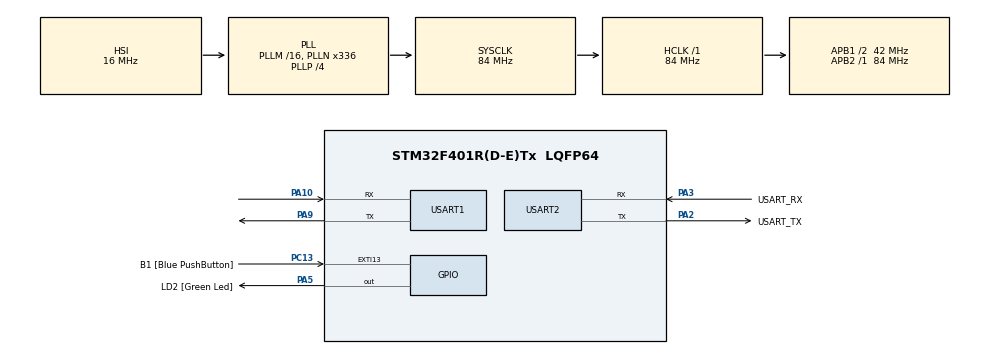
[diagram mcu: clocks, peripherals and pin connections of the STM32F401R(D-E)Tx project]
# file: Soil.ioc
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Mcu.Family=STM32F4
Mcu.Name=STM32F401R(D-E)Tx
Mcu.Package=LQFP64
NVIC.PriorityGroup=NVIC_PRIORITYGROUP_0
NVIC.USART1_IRQn=true\:0\:0\:false\:false\:true\:true\:true
PA10.Mode=Asynchronous
PA10.Signal=USART1_RX
PA13.GPIO_Label=TMS
PA13.Mode=Serial_Wire
PA13.Signal=SYS_JTMS-SWDIO
PA14.GPIO_Label=TCK
PA14.Mode=Serial_Wire
PA14.Signal=SYS_JTCK-SWCLK
PA2.GPIO_Label=USART_TX
PA2.GPIO_Mode=GPIO_MODE_AF_PP
PA2.GPIO_PuPd=GPIO_NOPULL
PA2.GPIO_Speed=GPIO_SPEED_FREQ_LOW
PA2.Mode=Asynchronous
PA2.Signal=USART2_TX
PA3.GPIO_Label=USART_RX
PA3.GPIO_Mode=GPIO_MODE_AF_PP
PA3.GPIO_PuPd=GPIO_NOPULL
PA3.GPIO_Speed=GPIO_SPEED_FREQ_LOW
PA3.Mode=Asynchronous
PA3.Signal=USART2_RX
PA5.GPIO_Label=LD2 [Green Led]
PA5.GPIO_Mode=GPIO_MODE_OUTPUT_PP
PA5.GPIO_PuPd=GPIO_NOPULL
PA5.GPIO_Speed=GPIO_SPEED_FREQ_LOW
PA5.Signal=GPIO_Output
PA9.Mode=Asynchronous
PA9.Signal=USART1_TX
PB3.GPIO_Label=SWO
PB3.Signal=SYS_JTDO-SWO
PC13-ANTI_TAMP.GPIO_Label=B1 [Blue PushButton]
PC13-ANTI_TAMP.GPIO_ModeDefaultEXTI=GPIO_MODE_IT_FALLING
PC13-ANTI_TAMP.GPIO_PuPd=GPIO_NOPULL
PC13-ANTI_TAMP.Signal=GPXTI13
PC14-OSC32_IN.Mode=LSE-External-Oscillator
PC14-OSC32_IN.Signal=RCC_OSC32_IN
PC15-OSC32_OUT.Mode=LSE-External-Oscillator
PC15-OSC32_OUT.Signal=RCC_OSC32_OUT
PH0\ -\ OSC_IN.Mode=HSE-External-Clock-Source
PH0\ -\ OSC_IN.Signal=RCC_OSC_IN
PH1\ -\ OSC_OUT.Mode=HSE-External-Clock-Source
PH1\ -\ OSC_OUT.Signal=RCC_OSC_OUT
ProjectManager.HeapSize=0x200
ProjectManager.StackSize=0x400
ProjectManager.TargetToolchain=STM32CubeIDE
RCC.48MHZClocksFreq_Value=48000000
RCC.AHBFreq_Value=84000000
RCC.APB1CLKDivider=RCC_HCLK_DIV2
RCC.APB1Freq_Value=42000000
RCC.APB1TimFreq_Value=84000000
RCC.APB2Freq_Value=84000000
RCC.APB2TimFreq_Value=84000000
RCC.CortexFreq_Value=84000000
RCC.HCLKFreq_Value=84000000
RCC.HSE_VALUE=8000000
RCC.HSI_VALUE=16000000
RCC.PLLN=336
RCC.PLLP=RCC_PLLP_DIV4
RCC.PLLQ=7
RCC.SYSCLKFreq_VALUE=84000000
RCC.SYSCLKSource=RCC_SYSCLKSOURCE_PLLCLK
RCC.VCOOutputFreq_Value=336000000
USART1.VirtualMode=VM_ASYNC
USART2.VirtualMode=VM_ASYNC
board=NUCLEO-F401RE

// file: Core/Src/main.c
/* USER CODE BEGIN Header */
/**
 ******************************************************************************
 * @file           : main.c
 * @brief          : Main program body
 ******************************************************************************
 * @attention
 *
 * <h2><center>&copy; Copyright (c) 2021 STMicroelectronics.
 * All rights reserved.</center></h2>
 *
 * This software component is licensed by ST under BSD 3-Clause license,
 * the "License"; You may not use this file except in compliance with the
 * License. You may obtain a copy of the License at:
 *                        opensource.org/licenses/BSD-3-Clause
 *
 ******************************************************************************
 */
/* USER CODE END Header */
#include "main.h"

UART_HandleTypeDef huart1;
UART_HandleTypeDef huart2;

/* USER CODE BEGIN PV */
int char_to_int(char in[]) {
	int a = 0;
	int i = 0;
	for (i = 0;
			in[i] == '0' || in[i] == '1' || in[i] == '2' || in[i] == '3'
					|| in[i] == '4' || in[i] == '5' || in[i] == '6'
					|| in[i] == '7' || in[i] == '8' || in[i] == '9'; i++) {
		a = a * 10;
		a = a + (in[i] - '0');
	}
	return a;
}
/* USER CODE END PV */

void SystemClock_Config(void);
static void MX_GPIO_Init(void);
static void MX_USART2_UART_Init(void);
static void MX_USART1_UART_Init(void);

/* USER CODE BEGIN 0 */
char datain[8];
char springkle[1] ;

/* USER CODE END 0 */

int main(void) {

	/* MCU Configuration--------------------------------------------------------*/

	/* Reset of all peripherals, Initializes the Flash interface and the Systick. */
	HAL_Init();

	/* Configure the system clock */
	SystemClock_Config();

	/* Initialize all configured peripherals */
	MX_GPIO_Init();
	MX_USART2_UART_Init();
	MX_USART1_UART_Init();

	/* Infinite loop */
	/* USER CODE BEGIN WHILE */

	while (1) {

		if (HAL_UART_Receive(&huart1, &datain, 4, 100) == HAL_OK) {
			int x = char_to_int(datain);
			if (x < 500) {
				springkle[0] = '0';
			} else {
				springkle[0] = '1';
			}
			HAL_UART_Transmit(&huart1,&springkle, 1, 1);
			HAL_UART_Transmit(&huart2,&springkle, 1, 1);

		}
		HAL_Delay(100);

		/* USER CODE END WHILE */

	}
}

void SystemClock_Config(void) {
	RCC_OscInitTypeDef RCC_OscInitStruct = { 0 };
	RCC_ClkInitTypeDef RCC_ClkInitStruct = { 0 };

	/** Configure the main internal regulator output voltage
	 */
	__HAL_RCC_PWR_CLK_ENABLE();
	__HAL_PWR_VOLTAGESCALING_CONFIG(PWR_REGULATOR_VOLTAGE_SCALE2);
	/** Initializes the RCC Oscillators according to the specified parameters
	 * in the RCC_OscInitTypeDef structure.
	 */
	RCC_OscInitStruct.OscillatorType = RCC_OSCILLATORTYPE_HSI;
	RCC_OscInitStruct.HSIState = RCC_HSI_ON;
	RCC_OscInitStruct.HSICalibrationValue = RCC_HSICALIBRATION_DEFAULT;
	RCC_OscInitStruct.PLL.PLLState = RCC_PLL_ON;
	RCC_OscInitStruct.PLL.PLLSource = RCC_PLLSOURCE_HSI;
	RCC_OscInitStruct.PLL.PLLM = 16;
	RCC_OscInitStruct.PLL.PLLN = 336;
	RCC_OscInitStruct.PLL.PLLP = RCC_PLLP_DIV4;
	RCC_OscInitStruct.PLL.PLLQ = 7;
	if (HAL_RCC_OscConfig(&RCC_OscInitStruct) != HAL_OK) {
		Error_Handler();
	}
	/** Initializes the CPU, AHB and APB buses clocks
	 */
	RCC_ClkInitStruct.ClockType = RCC_CLOCKTYPE_HCLK | RCC_CLOCKTYPE_SYSCLK
			| RCC_CLOCKTYPE_PCLK1 | RCC_CLOCKTYPE_PCLK2;
	RCC_ClkInitStruct.SYSCLKSource = RCC_SYSCLKSOURCE_PLLCLK;
	RCC_ClkInitStruct.AHBCLKDivider = RCC_SYSCLK_DIV1;
	RCC_ClkInitStruct.APB1CLKDivider = RCC_HCLK_DIV2;
	RCC_ClkInitStruct.APB2CLKDivider = RCC_HCLK_DIV1;

	if (HAL_RCC_ClockConfig(&RCC_ClkInitStruct, FLASH_LATENCY_2) != HAL_OK) {
		Error_Handler();
	}
}

static void MX_USART1_UART_Init(void) {

	huart1.Instance = USART1;
	huart1.Init.BaudRate = 115200;
	huart1.Init.WordLength = UART_WORDLENGTH_8B;
	huart1.Init.StopBits = UART_STOPBITS_1;
	huart1.Init.Parity = UART_PARITY_NONE;
	huart1.Init.Mode = UART_MODE_TX_RX;
	huart1.Init.HwFlowCtl = UART_HWCONTROL_NONE;
	huart1.Init.OverSampling = UART_OVERSAMPLING_16;
	if (HAL_UART_Init(&huart1) != HAL_OK) {
		Error_Handler();
	}

}

static void MX_USART2_UART_Init(void) {

	huart2.Instance = USART2;
	huart2.Init.BaudRate = 115200;
	huart2.Init.WordLength = UART_WORDLENGTH_8B;
	huart2.Init.StopBits = UART_STOPBITS_1;
	huart2.Init.Parity = UART_PARITY_NONE;
	huart2.Init.Mode = UART_MODE_TX_RX;
	huart2.Init.HwFlowCtl = UART_HWCONTROL_NONE;
	huart2.Init.OverSampling = UART_OVERSAMPLING_16;
	if (HAL_UART_Init(&huart2) != HAL_OK) {
		Error_Handler();
	}

}

static void MX_GPIO_Init(void) {
	GPIO_InitTypeDef GPIO_InitStruct = { 0 };

	/* GPIO Ports Clock Enable */
	__HAL_RCC_GPIOC_CLK_ENABLE();
	__HAL_RCC_GPIOH_CLK_ENABLE();
	__HAL_RCC_GPIOA_CLK_ENABLE();
	__HAL_RCC_GPIOB_CLK_ENABLE();

	/*Configure GPIO pin Output Level */
	HAL_GPIO_WritePin(LD2_GPIO_Port, LD2_Pin, GPIO_PIN_RESET);

	/*Configure GPIO pin : B1_Pin */
	GPIO_InitStruct.Pin = B1_Pin;
	GPIO_InitStruct.Mode = GPIO_MODE_IT_FALLING;
	GPIO_InitStruct.Pull = GPIO_NOPULL;
	HAL_GPIO_Init(B1_GPIO_Port, &GPIO_InitStruct);

	/*Configure GPIO pin : LD2_Pin */
	GPIO_InitStruct.Pin = LD2_Pin;
	GPIO_InitStruct.Mode = GPIO_MODE_OUTPUT_PP;
	GPIO_InitStruct.Pull = GPIO_NOPULL;
	GPIO_InitStruct.Speed = GPIO_SPEED_FREQ_LOW;
	HAL_GPIO_Init(LD2_GPIO_Port, &GPIO_InitStruct);

}

void Error_Handler(void) {
	__disable_irq();
	while (1) {
	}
}

/************************ (C) COPYRIGHT STMicroelectronics *****END OF FILE****/
